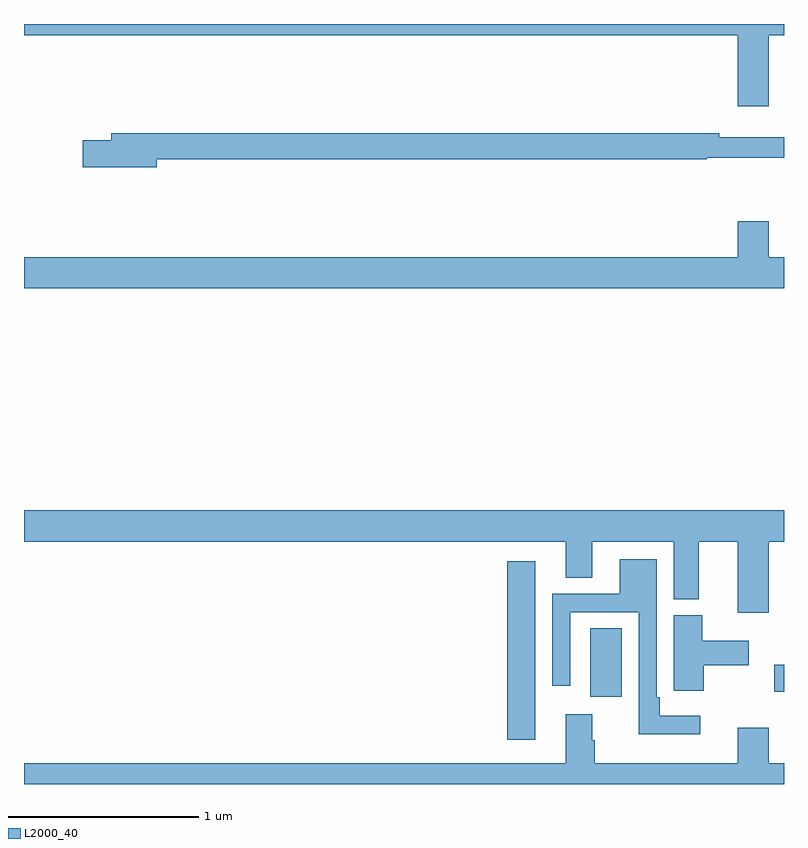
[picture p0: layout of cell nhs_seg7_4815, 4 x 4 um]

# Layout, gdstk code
import gdstk
lib = gdstk.Library(unit=1e-6, precision=1e-09)
def R(c, l, rs):  # rectangles x0, y0, x1, y1
    for r in rs: c.add(gdstk.rectangle(r[:2], r[2:], *l))
def P(c, l, *ps):  # polygons
    for p in ps: c.add(gdstk.Polygon(p, *l))
L2000_40 = (2000, 40)

nhs_seg7_4815 = lib.new_cell('nhs_seg7_4815')
R(nhs_seg7_4815, L2000_40, [(415.544,1006.233,415.69,1007.173), (415.979,1006.458,416.146,1006.82), (416.949,1006.486,417,1006.628)])
P(nhs_seg7_4815, L2000_40, [(416.92,1009.94),(417,1009.94),(417,1010),(413,1010),(413,1009.94),(416.756,1009.94),(416.756,1009.566),(416.92,1009.566)],
  [(413.698,1009.288),(416.594,1009.288),(416.594,1009.296),(417,1009.296),(417,1009.405),(416.66,1009.405),(416.66,1009.424),(413.459,1009.424),(413.459,1009.388),(413.31,1009.388),(413.31,1009.246),(413.698,1009.246)],
  [(417,1008.772),(416.92,1008.772),(416.92,1008.961),(416.756,1008.961),(416.756,1008.772),(413,1008.772),(413,1008.608),(417,1008.608)],
  [(416.92,1007.276),(417,1007.276),(417,1007.44),(413,1007.44),(413,1007.276),(415.85,1007.276),(415.85,1007.086),(415.99,1007.086),(415.99,1007.276),(416.42,1007.276),(416.42,1006.972),(416.551,1006.972),(416.551,1007.276),(416.756,1007.276),(416.756,1006.902),(416.92,1006.902)],
  [(416.56,1006.36),(416.347,1006.36),(416.347,1006.456),(416.331,1006.456),(416.331,1007.182),(416.135,1007.182),(416.135,1007.001),(415.779,1007.001),(415.779,1006.518),(415.875,1006.518),(415.875,1006.905),(416.235,1006.905),(416.235,1006.262),(416.56,1006.262)],
  [(416.577,1006.624),(416.815,1006.624),(416.815,1006.753),(416.569,1006.753),(416.569,1006.887),(416.42,1006.887),(416.42,1006.603),(416.421,1006.603),(416.421,1006.491),(416.577,1006.491)],
  [(417,1006.108),(416.92,1006.108),(416.92,1006.297),(416.756,1006.297),(416.756,1006.108),(416.003,1006.108),(416.003,1006.229),(415.99,1006.229),(415.99,1006.366),(415.85,1006.366),(415.85,1006.108),(413,1006.108),(413,1006),(417,1006)])

lib.write_gds('nhs_seg7_4815.gds')
